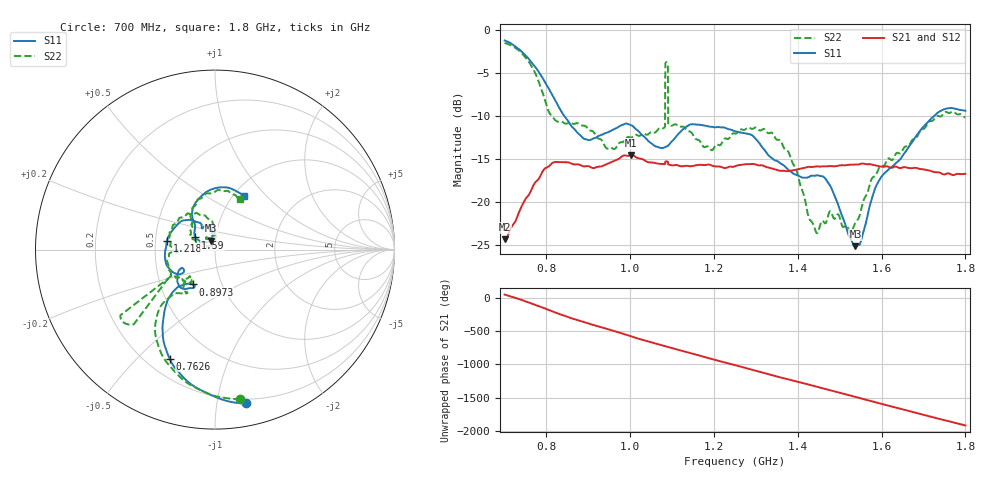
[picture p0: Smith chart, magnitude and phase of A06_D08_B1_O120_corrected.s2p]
! Created with skrf 1.9.0 (http://scikit-rf.org).
# Hz S RI R 50.0
!freq ReS11 ImS11 ReS21 ImS21 ReS12 ImS12 ReS22 ImS22
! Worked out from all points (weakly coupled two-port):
!   1601 points, 700 MHz to 1.8 GHz, reference 50 ohm
!   highest |S21| = -14.55 dB at 1.002 GHz (marker M1); lowest = -24.4 dB at 700.7 MHz (marker M2)
!   lowest |S11| = -25.2 dB at 1.537 GHz (marker M3), VSWR 1.12, Z = 47.4 + j4.67 ohm
!   |S11| at or under -10 dB: 842.5 MHz to 1.725 GHz (882.2 MHz wide, 68.7 % of centre)
!   |S22| runs from -23.7 to -1.5 dB; largest |S21 - S12| = 0.0037
!   S11 on the Smith chart (normalised r, x): 700 MHz: 0.17, -1.21; 762.6 MHz: 0.29, -0.63; 897.3 MHz: 0.73, -0.30; 1.218 GHz: 0.58, +0.06; 1.59 GHz: 0.80, +0.11; 1.8 GHz: 1.12, +0.76
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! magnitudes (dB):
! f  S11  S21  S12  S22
! 700 MHz  -1.2  -24.4  -24.2  -1.5
! 700.7 MHz  -1.2  -24.4  -24.1  -1.5
! 762.6 MHz  -3.6  -18.8  -18.7  -4.0
! 814.8 MHz  -7.6  -15.5  -15.5  -10.1
! 883.6 MHz  -12.4  -15.8  -15.7  -11.1
! 897.3 MHz  -12.8  -15.8  -15.9  -11.4
! 946.1 MHz  -11.9  -15.6  -15.6  -13.8
! 1.002 GHz  -11.1  -14.5  -14.7  -12.5
! 1.067 GHz  -13.6  -15.6  -15.5  -11.5
! 1.077 GHz  -13.7  -15.6  -15.6  -11.4
! 1.089 GHz  -13.5  -15.3  -15.3  -4.1
! 1.096 GHz  -13.1  -15.7  -15.7  -11.1
! 1.218 GHz  -11.3  -15.9  -16.0  -13.2
! 1.25 GHz  -11.8  -15.9  -15.8  -12.0
! 1.358 GHz  -15.5  -16.4  -16.3  -12.8
! 1.434 GHz  -17.0  -16.0  -15.9  -22.4
! 1.474 GHz  -17.9  -15.8  -15.9  -21.3
! 1.537 GHz  -25.2  -15.7  -15.7  -22.4
! 1.59 GHz  -17.8  -15.8  -15.8  -16.5
! 1.617 GHz  -16.2  -15.9  -15.9  -14.9
! 1.733 GHz  -9.7  -16.6  -16.6  -10.0
! 1.8 GHz  -9.4  -16.7  -16.7  -10.1
